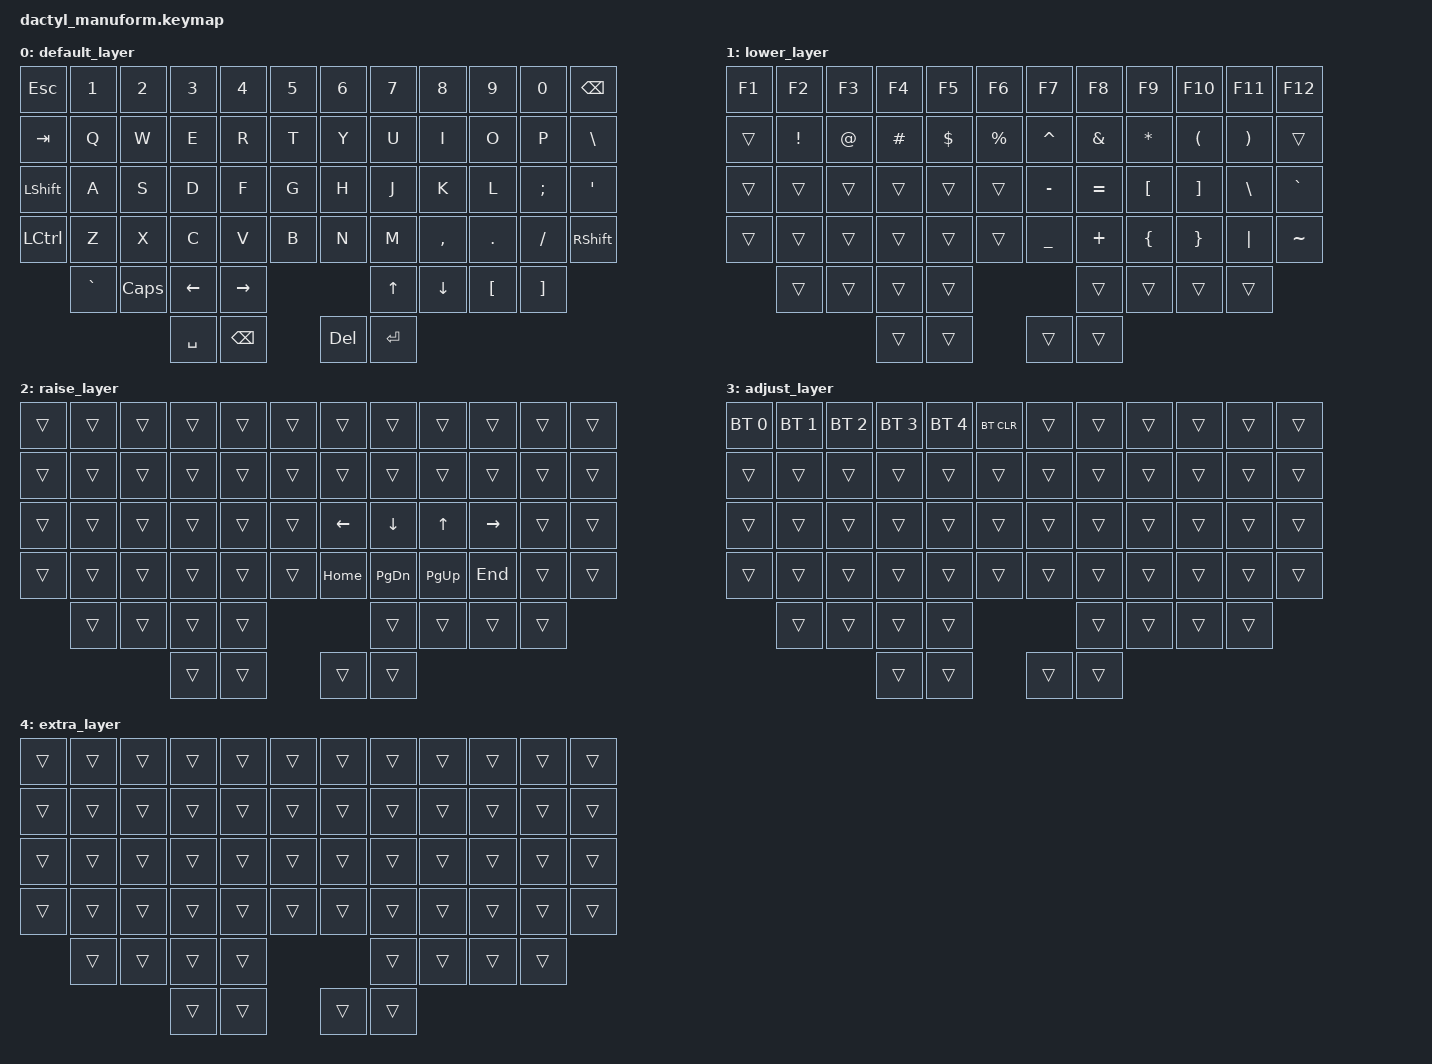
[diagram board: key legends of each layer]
#include <behaviors.dtsi>
#include <dt-bindings/zmk/keys.h>
#include <dt-bindings/zmk/bt.h>

/ {
    keymap {
        compatible = "zmk,keymap";

        default_layer {
            bindings = <
                &kp ESC    &kp N1     &kp N2     &kp N3     &kp N4     &kp N5        &kp N6     &kp N7     &kp N8     &kp N9     &kp N0     &kp BSPC
                &kp TAB    &kp Q      &kp W      &kp E      &kp R      &kp T         &kp Y      &kp U      &kp I      &kp O      &kp P      &kp BSLH
                &kp LSHFT  &kp A      &kp S      &kp D      &kp F      &kp G         &kp H      &kp J      &kp K      &kp L      &kp SEMI   &kp SQT
                &kp LCTRL  &kp Z      &kp X      &kp C      &kp V      &kp B         &kp N      &kp M      &kp COMMA  &kp DOT    &kp FSLH   &kp RSHFT
                           &kp GRAVE  &kp CAPS   &kp LEFT   &kp RIGHT                           &kp UP     &kp DOWN   &kp LBKT   &kp RBKT
                                                 &kp SPACE  &kp BSPC                  &kp DEL    &kp ENTER
            >;
        };

        lower_layer {
            bindings = <
                &kp F1     &kp F2     &kp F3      &kp F4      &kp F5     &kp F6         &kp F7     &kp F8     &kp F9     &kp F10    &kp F11    &kp F12
                &trans     &kp EXCL   &kp AT      &kp HASH    &kp DLLR   &kp PRCNT      &kp CARET  &kp AMPS   &kp ASTRK  &kp LPAR   &kp RPAR   &trans
                &trans     &trans     &trans      &trans      &trans     &trans         &kp MINUS  &kp EQUAL  &kp LBKT   &kp RBKT   &kp BSLH   &kp GRAVE
                &trans     &trans     &trans      &trans      &trans     &trans         &kp UNDER  &kp PLUS   &kp LBRC   &kp RBRC   &kp PIPE   &kp TILDE
                           &trans     &trans      &trans      &trans                               &trans     &trans     &trans     &trans
                                                  &trans      &trans                     &trans     &trans
            >;
        };

        raise_layer {
            bindings = <
                &trans     &trans     &trans      &trans      &trans     &trans         &trans     &trans     &trans     &trans     &trans     &trans
                &trans     &trans     &trans      &trans      &trans     &trans         &trans     &trans     &trans     &trans     &trans     &trans
                &trans     &trans     &trans      &trans      &trans     &trans         &kp LEFT   &kp DOWN   &kp UP     &kp RIGHT  &trans     &trans
                &trans     &trans     &trans      &trans      &trans     &trans         &kp HOME   &kp PG_DN  &kp PG_UP  &kp END    &trans     &trans
                           &trans     &trans      &trans      &trans                               &trans     &trans     &trans     &trans
                                                  &trans      &trans                     &trans     &trans
            >;
        };

        adjust_layer {
            bindings = <
                &bt BT_SEL 0  &bt BT_SEL 1  &bt BT_SEL 2  &bt BT_SEL 3  &bt BT_SEL 4  &bt BT_CLR     &trans  &trans  &trans  &trans  &trans  &trans
                &trans        &trans        &trans        &trans        &trans        &trans         &trans  &trans  &trans  &trans  &trans  &trans
                &trans        &trans        &trans        &trans        &trans        &trans         &trans  &trans  &trans  &trans  &trans  &trans
                &trans        &trans        &trans        &trans        &trans        &trans         &trans  &trans  &trans  &trans  &trans  &trans
                              &trans        &trans        &trans        &trans                               &trans  &trans  &trans  &trans
                                                          &trans        &trans                       &trans  &trans
            >;
        };

        extra_layer {
            bindings = <
                &trans     &trans     &trans      &trans      &trans     &trans         &trans     &trans     &trans     &trans     &trans     &trans
                &trans     &trans     &trans      &trans      &trans     &trans         &trans     &trans     &trans     &trans     &trans     &trans
                &trans     &trans     &trans      &trans      &trans     &trans         &trans     &trans     &trans     &trans     &trans     &trans
                &trans     &trans     &trans      &trans      &trans     &trans         &trans     &trans     &trans     &trans     &trans     &trans
                           &trans     &trans      &trans      &trans                               &trans     &trans     &trans     &trans
                                                  &trans      &trans                     &trans     &trans
            >;
        };
    };
};
